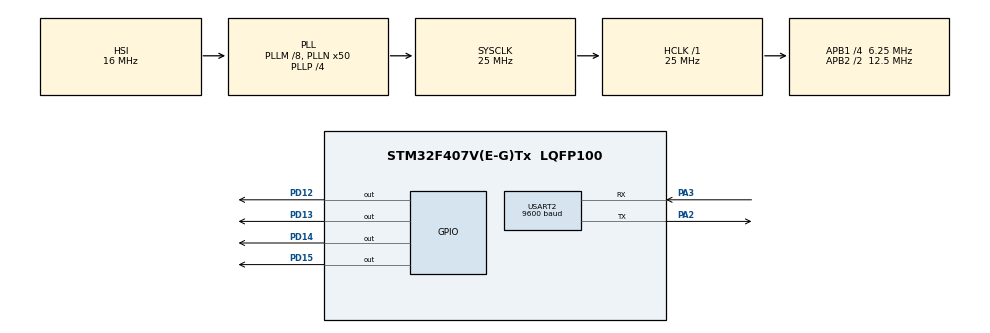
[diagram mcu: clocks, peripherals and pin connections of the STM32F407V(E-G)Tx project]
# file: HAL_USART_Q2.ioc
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Mcu.Family=STM32F4
Mcu.Name=STM32F407V(E-G)Tx
Mcu.Package=LQFP100
NVIC.PriorityGroup=NVIC_PRIORITYGROUP_0
PA2.Mode=Asynchronous
PA2.Signal=USART2_TX
PA3.Mode=Asynchronous
PA3.Signal=USART2_RX
PD12.Signal=GPIO_Output
PD13.Signal=GPIO_Output
PD14.Signal=GPIO_Output
PD15.Signal=GPIO_Output
ProjectManager.HeapSize=0x200
ProjectManager.StackSize=0x400
ProjectManager.TargetToolchain=STM32CubeIDE
RCC.48MHZClocksFreq_Value=14285714.285714285
RCC.AHBFreq_Value=25000000
RCC.APB1CLKDivider=RCC_HCLK_DIV4
RCC.APB1Freq_Value=6250000
RCC.APB1TimFreq_Value=12500000
RCC.APB2CLKDivider=RCC_HCLK_DIV2
RCC.APB2Freq_Value=12500000
RCC.APB2TimFreq_Value=25000000
RCC.CortexFreq_Value=25000000
RCC.HCLKFreq_Value=25000000
RCC.HSE_VALUE=8000000
RCC.HSI_VALUE=16000000
RCC.LSE_VALUE=32768
RCC.PLLM=8
RCC.PLLN=50
RCC.PLLP=RCC_PLLP_DIV4
RCC.PLLQ=7
RCC.SYSCLKFreq_VALUE=25000000
RCC.SYSCLKSource=RCC_SYSCLKSOURCE_PLLCLK
RCC.VCOOutputFreq_Value=100000000
USART2.BaudRate=9600
USART2.VirtualMode=VM_ASYNC
board=STM32F407G-DISC1

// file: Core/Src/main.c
/* USER CODE BEGIN Header */
/**
  ******************************************************************************
  * @file           : main.c
  * @brief          : Main program body
  ******************************************************************************
  * @attention
  *
  * Copyright (c) 2025 STMicroelectronics.
  * All rights reserved.
  *
  * This software is licensed under terms that can be found in the LICENSE file
  * in the root directory of this software component.
  * If no LICENSE file comes with this software, it is provided AS-IS.
  *
  ******************************************************************************
  */
/* USER CODE END Header */
#include "main.h"

UART_HandleTypeDef huart2;

void SystemClock_Config(void);
static void MX_GPIO_Init(void);
static void MX_USART2_UART_Init(void);

/* USER CODE BEGIN 0 */

char rx_Buffer[20];
uint8_t rxChar;
uint8_t rx_index = 0;

/* USER CODE END 0 */

int main(void)
{

  /* MCU Configuration--------------------------------------------------------*/

  /* Reset of all peripherals, Initializes the Flash interface and the Systick. */
  HAL_Init();

  /* Configure the system clock */
  SystemClock_Config();

  /* Initialize all configured peripherals */
  MX_GPIO_Init();
  MX_USART2_UART_Init();
  /* USER CODE BEGIN 2 */
char msg0[]="hello\r\n";
HAL_UART_Transmit(&huart2, (uint8_t*)msg0, strlen(msg0), HAL_MAX_DELAY);
  /* USER CODE END 2 */

  /* Infinite loop */
  while (1)
  {

    /* USER CODE BEGIN 3 */

	      /* Receive one character (polling) */
	      HAL_UART_Receive(&huart2, &rxChar, 1, HAL_MAX_DELAY);

	      HAL_UART_Transmit(&huart2, &rxChar, 1, HAL_MAX_DELAY);

	      /* Check for Enter key */
	      if (rxChar == '\r')
	      {
	          rx_Buffer[rx_index] = '\0';   // Null terminate string
	          char msg1[] = "\r\nYou sent: ";
	          	            HAL_UART_Transmit(&huart2, (uint8_t*)msg1, strlen(msg1), HAL_MAX_DELAY);
	          	            HAL_UART_Transmit(&huart2, (uint8_t*)rx_Buffer, strlen(rx_Buffer), HAL_MAX_DELAY);
	          /* Compare received command */
	          if (strcmp(rx_Buffer, "LED_RED") == 0)
	          {
	              HAL_GPIO_TogglePin(GPIOD, GPIO_PIN_14);
	              HAL_Delay(500);
	          }

	          else if (strcmp(rx_Buffer, "LED_ORANGE") == 0)
	          {
	              HAL_GPIO_TogglePin(GPIOD, GPIO_PIN_13);
	              HAL_Delay(500);
	          }
	          else
	          {
	              char msg[] = "Invalid Command\r\n";
	              HAL_UART_Transmit(&huart2, (uint8_t*)msg, strlen(msg), HAL_MAX_DELAY);
	          }

	          /* Reset buffer */
	          rx_index = 0;

	      }
	      else
	      {
	          /* Store received character */
	          rx_Buffer[rx_index++] = rxChar;

	          /* Prevent buffer overflow */
	          if (rx_index >= sizeof(rx_Buffer))
	          {
	              rx_index = 0;
	          }
	      }
	  }

  /* USER CODE END 3 */
}

void SystemClock_Config(void)
{
  RCC_OscInitTypeDef RCC_OscInitStruct = {0};
  RCC_ClkInitTypeDef RCC_ClkInitStruct = {0};

  /** Configure the main internal regulator output voltage
  */
  __HAL_RCC_PWR_CLK_ENABLE();
  __HAL_PWR_VOLTAGESCALING_CONFIG(PWR_REGULATOR_VOLTAGE_SCALE1);

  /** Initializes the RCC Oscillators according to the specified parameters
  * in the RCC_OscInitTypeDef structure.
  */
  RCC_OscInitStruct.OscillatorType = RCC_OSCILLATORTYPE_HSI;
  RCC_OscInitStruct.HSIState = RCC_HSI_ON;
  RCC_OscInitStruct.HSICalibrationValue = RCC_HSICALIBRATION_DEFAULT;
  RCC_OscInitStruct.PLL.PLLState = RCC_PLL_ON;
  RCC_OscInitStruct.PLL.PLLSource = RCC_PLLSOURCE_HSI;
  RCC_OscInitStruct.PLL.PLLM = 8;
  RCC_OscInitStruct.PLL.PLLN = 50;
  RCC_OscInitStruct.PLL.PLLP = RCC_PLLP_DIV4;
  RCC_OscInitStruct.PLL.PLLQ = 7;
  if (HAL_RCC_OscConfig(&RCC_OscInitStruct) != HAL_OK)
  {
    Error_Handler();
  }

  /** Initializes the CPU, AHB and APB buses clocks
  */
  RCC_ClkInitStruct.ClockType = RCC_CLOCKTYPE_HCLK|RCC_CLOCKTYPE_SYSCLK
                              |RCC_CLOCKTYPE_PCLK1|RCC_CLOCKTYPE_PCLK2;
  RCC_ClkInitStruct.SYSCLKSource = RCC_SYSCLKSOURCE_PLLCLK;
  RCC_ClkInitStruct.AHBCLKDivider = RCC_SYSCLK_DIV1;
  RCC_ClkInitStruct.APB1CLKDivider = RCC_HCLK_DIV4;
  RCC_ClkInitStruct.APB2CLKDivider = RCC_HCLK_DIV2;

  if (HAL_RCC_ClockConfig(&RCC_ClkInitStruct, FLASH_LATENCY_0) != HAL_OK)
  {
    Error_Handler();
  }
}

static void MX_USART2_UART_Init(void)
{

  huart2.Instance = USART2;
  huart2.Init.BaudRate = 9600;
  huart2.Init.WordLength = UART_WORDLENGTH_8B;
  huart2.Init.StopBits = UART_STOPBITS_1;
  huart2.Init.Parity = UART_PARITY_NONE;
  huart2.Init.Mode = UART_MODE_TX_RX;
  huart2.Init.HwFlowCtl = UART_HWCONTROL_NONE;
  huart2.Init.OverSampling = UART_OVERSAMPLING_16;
  if (HAL_UART_Init(&huart2) != HAL_OK)
  {
    Error_Handler();
  }

}

static void MX_GPIO_Init(void)
{
  GPIO_InitTypeDef GPIO_InitStruct = {0};

  /* GPIO Ports Clock Enable */
  __HAL_RCC_GPIOA_CLK_ENABLE();
  __HAL_RCC_GPIOD_CLK_ENABLE();

  /*Configure GPIO pin Output Level */
  HAL_GPIO_WritePin(GPIOD, GPIO_PIN_12|GPIO_PIN_13|GPIO_PIN_14|GPIO_PIN_15, GPIO_PIN_RESET);

  /*Configure GPIO pins : PD12 PD13 PD14 PD15 */
  GPIO_InitStruct.Pin = GPIO_PIN_12|GPIO_PIN_13|GPIO_PIN_14|GPIO_PIN_15;
  GPIO_InitStruct.Mode = GPIO_MODE_OUTPUT_PP;
  GPIO_InitStruct.Pull = GPIO_NOPULL;
  GPIO_InitStruct.Speed = GPIO_SPEED_FREQ_LOW;
  HAL_GPIO_Init(GPIOD, &GPIO_InitStruct);

}

void Error_Handler(void)
{
  __disable_irq();
  while (1)
  {
  }
}
